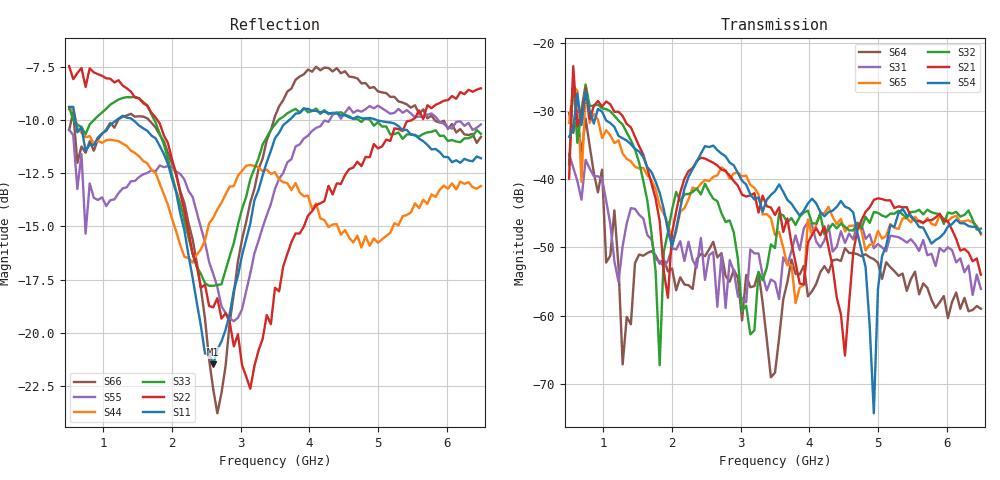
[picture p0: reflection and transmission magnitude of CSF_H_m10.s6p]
!Keysight Technologies,M9804A,MY58100912,A.14.10.03
!Date: Thursday, April 27, 2023 10:28:33
!Correction: S11(C  6-Port  )
!S12(C  6-Port  )
!S13(C  6-Port  )
!S14(C  6-Port  )
!S15(C  6-Port  )
!S16(C  6-Port  )
!S21(C  6-Port  )
!S22(C  6-Port  )
!S23(C  6-Port  )
!S24(C  6-Port  )
!S25(C  6-Port  )
!S26(C  6-Port  )
!S31(C  6-Port  )
!S32(C  6-Port  )
!S33(C  6-Port  )
!S34(C  6-Port  )
!S35(C  6-Port  )
!S36(C  6-Port  )
!S41(C  6-Port  )
!S42(C  6-Port  )
!S43(C  6-Port  )
!S44(C  6-Port  )
!S45(C  6-Port  )
!S46(C  6-Port  )
!S51(C  6-Port  )
!S52(C  6-Port  )
!S53(C  6-Port  )
!S54(C  6-Port  )
!S55(C  6-Port  )
!S56(C  6-Port  )
!S61(C  6-Port  )
!S62(C  6-Port  )
!S63(C  6-Port  )
!S64(C  6-Port  )
!S65(C  6-Port  )
!S66(C  6-Port  )
!S6P File: Measurement: :
# Hz S  RI  R 50
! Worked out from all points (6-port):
!   101 points, 500 MHz to 6.5 GHz, reference 50 ohm
!   strongest paths, dB at 500 MHz, 2 GHz, 3.5 GHz, 5 GHz, 6.5 GHz:
!     S54: -33.7, -49.9, -41.7, -56.2, -47.9
!     S21: -39.9, -47.8, -45.2, -42.8, -54.0
!     S32: -37.8, -44.4, -50.1, -44.9, -47.2
!     S65: -31.7, -49.6, -48.2, -47.6, -48.1
!     S31: -36.3, -50.1, -55.1, -49.5, -56.1
!     S64: -30.2, -53.1, -68.4, -52.2, -59.0
!   lowest |S11| = -21.5 dB at 2.6 GHz (marker M1), VSWR 1.18, Z = 42.5 + j2.14 ohm
!   |S11| at or under -10 dB: 590.7 MHz to 1.196 GHz (604.9 MHz wide, 67.7 % of centre); 1.428 GHz to 3.711 GHz (2.283 GHz wide, 88.9 % of centre); 4.976 GHz to end of sweep
